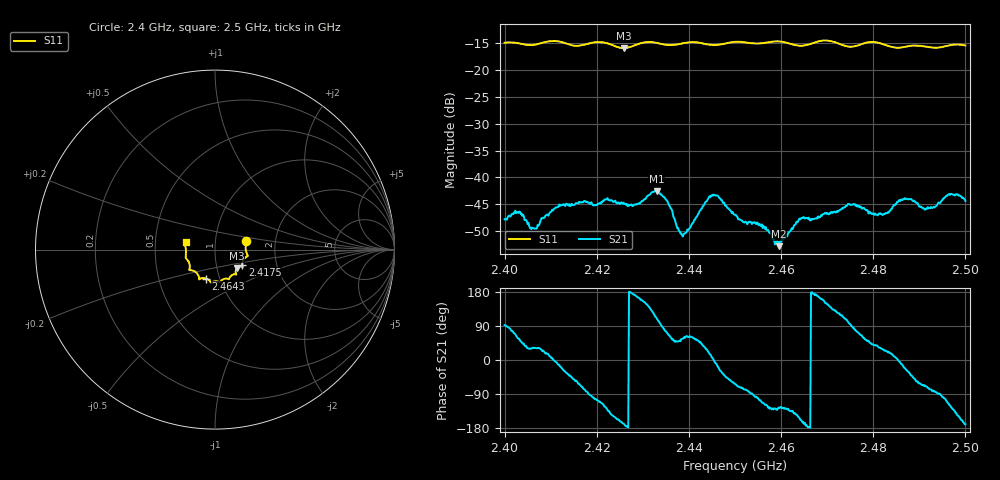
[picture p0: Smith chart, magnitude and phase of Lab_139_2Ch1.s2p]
# Hz S RI R 50
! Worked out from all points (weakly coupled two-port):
!   601 points, 2.4 GHz to 2.5 GHz, reference 50 ohm
!   highest |S21| = -42.56 dB at 2.433 GHz (marker M1); lowest = -52.8 dB at 2.4595 GHz (marker M2)
!   lowest |S11| = -15.9 dB at 2.4258 GHz (marker M3), VSWR 1.38, Z = 62.3 - j13.2 ohm
!   |S11| at or under -10 dB: start of sweep to end of sweep
!   S12 and S22 are empty: the file has one direction only
!   S11 on the Smith chart (normalised r, x): 2.4 GHz: 1.41, +0.14; 2.4175 GHz: 1.33, -0.23; 2.4643 GHz: 0.86, -0.29; 2.5 GHz: 0.72, +0.06
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2.4e9  0.173 0.0489  -0.000135 0.00406  0 0  0 0
2.402833e9  0.1746 0.0354  0.00252 0.00405  0 0  0 0
2.4065e9  0.1718 -0.00414  0.00281 0.00177  0 0  0 0
2.411333e9  0.1823 -0.0358  0.00521 -0.000666  0 0  0 0
2.416667e9  0.1527 -0.0741  0.00197 -0.00549  0 0  0 0
2.4175e9  0.1516 -0.0835  0.00101 -0.00589  0 0  0 0
2.425833e9  0.1219 -0.1035  -0.0057 -0.00114  0 0  0 0
2.433e9  0.1148 -0.1374  -0.00258 0.00698  0 0  0 0
2.433333e9  0.1131 -0.1371  -0.00173 0.00711  0 0  0 0
2.435333e9  0.0996 -0.1394  0.00199 0.00565  0 0  0 0
2.438667e9  0.0808 -0.1579  0.00156 0.00234  0 0  0 0
2.444833e9  0.0571 -0.1616  0.00667 0.00129  0 0  0 0
2.45e9  0.029 -0.1809  0.00201 -0.004  0 0  0 0
2.4595e9  -0.0232 -0.1834  -0.00133 -0.00186  0 0  0 0
2.464333e9  -0.0496 -0.161  -0.00389 -0.00149  0 0  0 0
2.466667e9  -0.0756 -0.1596  -0.00404 7.06e-05  0 0  0 0
2.474833e9  -0.1046 -0.1279  -0.00056 0.00562  0 0  0 0
2.483333e9  -0.1407 -0.0902  0.00434 0.00175  0 0  0 0
2.486667e9  -0.1532 -0.0582  0.00586 -0.00214  0 0  0 0
2.491167e9  -0.1626 -0.0328  0.00197 -0.00459  0 0  0 0
2.496667e9  -0.1685 0.0249  -0.00343 -0.00593  0 0  0 0
2.5e9  -0.1638 0.0427  -0.00593 -0.00106  0 0  0 0
